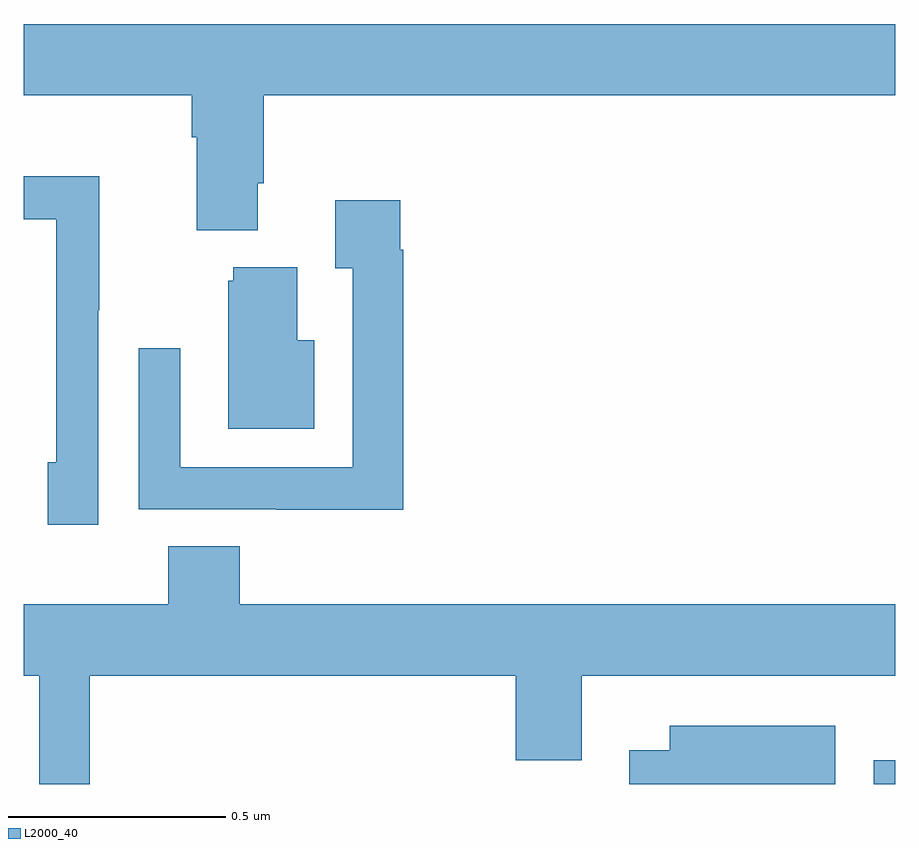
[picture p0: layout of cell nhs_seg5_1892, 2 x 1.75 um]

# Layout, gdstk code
import gdstk
lib = gdstk.Library(unit=1e-6, precision=1e-09)
def R(c, l, rs):  # rectangles x0, y0, x1, y1
    for r in rs: c.add(gdstk.rectangle(r[:2], r[2:], *l))
def P(c, l, *ps):  # polygons
    for p in ps: c.add(gdstk.Polygon(p, *l))
L2000_40 = (2000, 40)

nhs_seg5_1892 = lib.new_cell('nhs_seg5_1892')
R(nhs_seg5_1892, L2000_40, [(137.951,901.799,138,901.854)])
P(nhs_seg5_1892, L2000_40, [(136.537,903.178),(136.55,903.178),(136.55,903.38),(138,903.38),(138,903.544),(136,903.544),(136,903.38),(136.385,903.38),(136.385,903.284),(136.397,903.284),(136.397,903.071),(136.537,903.071)],
  [(136.17,902.887),(136.173,902.887),(136.173,903.194),(136,903.194),(136,903.096),(136.074,903.096),(136.074,902.538),(136.055,902.538),(136.055,902.394),(136.17,902.394)],
  [(136.871,903.026),(136.864,903.026),(136.864,903.139),(136.715,903.139),(136.715,902.983),(136.755,902.983),(136.755,902.526),(136.359,902.526),(136.359,902.8),(136.263,902.8),(136.263,902.43),(136.579,902.43),(136.579,902.429),(136.871,902.429)],
  [(136.666,902.818),(136.627,902.818),(136.627,902.986),(136.481,902.986),(136.481,902.955),(136.469,902.955),(136.469,902.615),(136.666,902.615)],
  [(136.151,902.048),(137.129,902.048),(137.129,901.854),(137.281,901.854),(137.281,902.048),(138,902.048),(138,902.212),(136.496,902.212),(136.496,902.345),(136.331,902.345),(136.331,902.212),(136,902.212),(136,902.048),(136.035,902.048),(136.035,901.799),(136.151,901.799)],
  [(137.863,901.933),(137.483,901.933),(137.483,901.876),(137.39,901.876),(137.39,901.799),(137.863,901.799)])

lib.write_gds('nhs_seg5_1892.gds')
